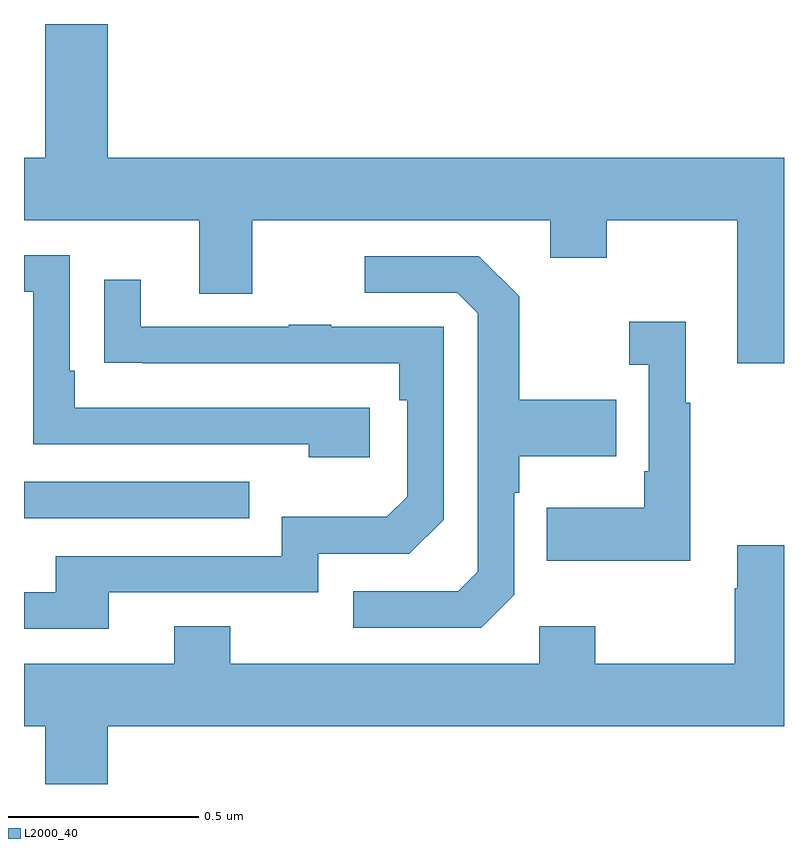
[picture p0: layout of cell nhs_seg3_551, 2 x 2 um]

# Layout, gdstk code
import gdstk
lib = gdstk.Library(unit=1e-6, precision=1e-09)
def R(c, l, rs):  # rectangles x0, y0, x1, y1
    for r in rs: c.add(gdstk.rectangle(r[:2], r[2:], *l))
def P(c, l, *ps):  # polygons
    for p in ps: c.add(gdstk.Polygon(p, *l))
L2000_40 = (2000, 40)

nhs_seg3_551 = lib.new_cell('nhs_seg3_551')
R(nhs_seg3_551, L2000_40, [(117,732.099,117.593,732.195)])
P(nhs_seg3_551, L2000_40, [(119,733.048),(117.22,733.048),(117.22,733.4),(117.056,733.4),(117.056,733.048),(117,733.048),(117,732.884),(117.461,732.884),(117.461,732.69),(117.601,732.69),(117.601,732.884),(118.385,732.884),(118.385,732.785),(118.533,732.785),(118.533,732.884),(118.877,732.884),(118.877,732.507),(119,732.507)],
  [(117.91,732.39),(117.133,732.39),(117.133,732.487),(117.12,732.487),(117.12,732.792),(117,732.792),(117,732.696),(117.024,732.696),(117.024,732.294),(117.749,732.294),(117.749,732.26),(117.91,732.26)],
  [(118.29,731.898),(118.29,732.167),(118.303,732.167),(118.303,732.263),(118.559,732.263),(118.559,732.411),(118.303,732.411),(118.303,732.683),(118.197,732.789),(117.897,732.789),(117.897,732.693),(118.14,732.693),(118.194,732.639),(118.194,731.958),(118.143,731.907),(117.867,731.907),(117.867,731.811),(118.203,731.811)],
  [(117.223,731.904),(117.774,731.904),(117.774,732.006),(118.014,732.006),(118.104,732.096),(118.104,732.603),(117.809,732.603),(117.809,732.608),(117.697,732.608),(117.697,732.603),(117.307,732.603),(117.307,732.727),(117.211,732.727),(117.211,732.508),(117.313,732.508),(117.313,732.507),(117.988,732.507),(117.988,732.41),(118.008,732.41),(118.008,732.156),(117.955,732.103),(117.678,732.103),(117.678,732),(117.083,732),(117.083,731.904),(117,731.904),(117,731.808),(117.223,731.808)],
  [(118.753,732.403),(118.741,732.403),(118.741,732.616),(118.593,732.616),(118.593,732.503),(118.644,732.503),(118.644,732.223),(118.632,732.223),(118.632,732.127),(118.375,732.127),(118.375,731.987),(118.753,731.987)],
  [(117.22,731.552),(119,731.552),(119,732.028),(118.877,732.028),(118.877,731.915),(118.87,731.915),(118.87,731.716),(118.503,731.716),(118.503,731.815),(118.356,731.815),(118.356,731.716),(117.543,731.716),(117.543,731.815),(117.395,731.815),(117.395,731.716),(117,731.716),(117,731.552),(117.056,731.552),(117.056,731.4),(117.22,731.4)])

lib.write_gds('nhs_seg3_551.gds')
